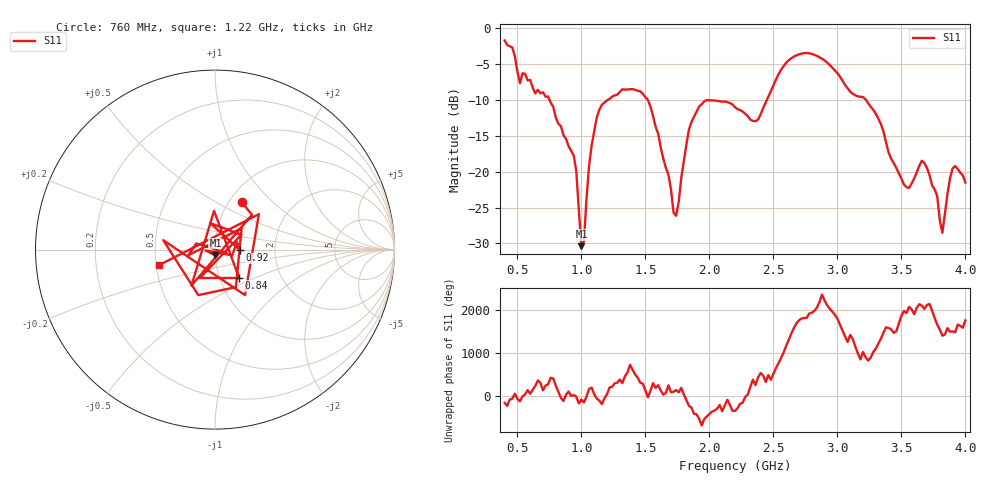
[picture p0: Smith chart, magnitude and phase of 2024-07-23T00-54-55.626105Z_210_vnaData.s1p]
!Created with skrf (http://scikit-rf.org).
# Hz S RI R 50.0
!freq ReS11 ImS11
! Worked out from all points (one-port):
!   181 points, 400 MHz to 4 GHz, reference 50 ohm
!   lowest |S11| = -30.4 dB at 1 GHz (marker M1), VSWR 1.06, Z = 50.1 - j3.03 ohm
!   |S11| at or under -10 dB: 751.5 MHz to 1.205 GHz (453.9 MHz wide, 46.4 % of centre); 1.519 GHz to 2.449 GHz (929.8 MHz wide, 46.9 % of centre); 3.223 GHz to end of sweep
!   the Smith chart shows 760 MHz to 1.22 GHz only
!   S11 on the Smith chart (normalised r, x): 760 MHz: 1.14, +0.67; 840 MHz: 1.24, -0.41; 920 MHz: 1.32, -0.01; 1.22 GHz: 0.52, -0.10
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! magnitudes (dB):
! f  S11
! 400 MHz  -1.7
! 520 MHz  -7.7
! 760 MHz  -10.4
! 840 MHz  -13.6
! 860 MHz  -14.9
! 920 MHz  -17.1
! 960 MHz  -19.9
! 1 GHz  -30.4
! 1.02 GHz  -29.7
! 1.12 GHz  -12.4
! 1.22 GHz  -9.9
! 1.3 GHz  -8.9
! 1.52 GHz  -10.0
! 1.72 GHz  -25.7
! 1.76 GHz  -24.3
! 1.84 GHz  -14.1
! 1.92 GHz  -10.9
! 2.2 GHz  -11.0
! 2.38 GHz  -12.7
! 2.66 GHz  -3.9
! 3.1 GHz  -8.8
! 3.3 GHz  -11.9
! 3.56 GHz  -22.3
! 3.68 GHz  -18.8
! 3.78 GHz  -23.4
! 3.82 GHz  -28.5
! 3.9 GHz  -19.5
! 4 GHz  -21.5
